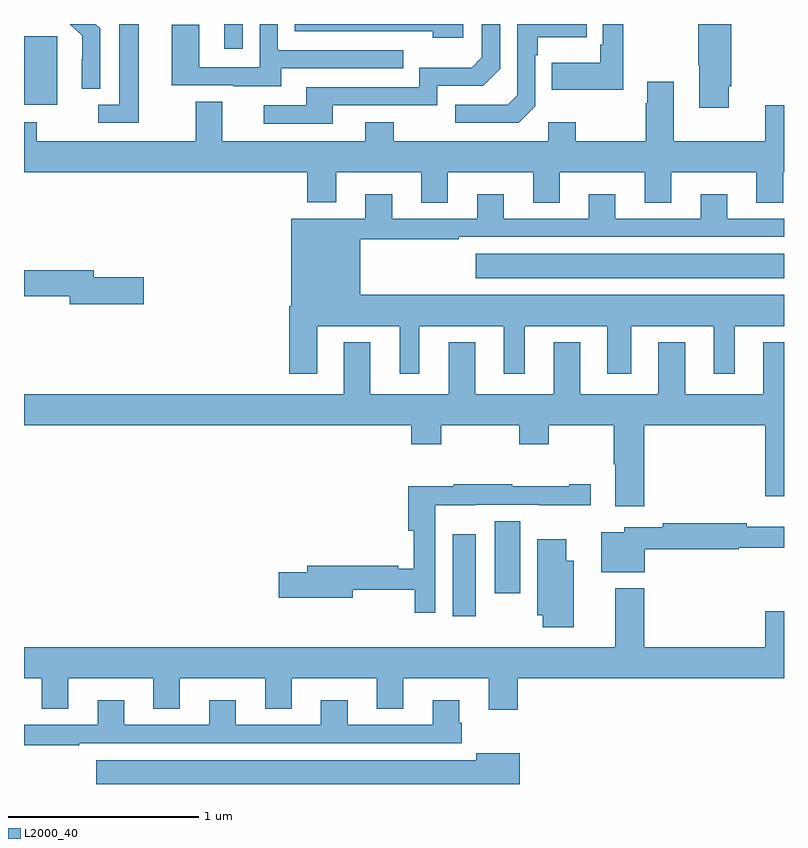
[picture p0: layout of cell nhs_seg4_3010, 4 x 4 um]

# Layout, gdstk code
import gdstk
lib = gdstk.Library(unit=1e-6, precision=1e-09)
def R(c, l, rs):  # rectangles x0, y0, x1, y1
    for r in rs: c.add(gdstk.rectangle(r[:2], r[2:], *l))
def P(c, l, *ps):  # polygons
    for p in ps: c.add(gdstk.Polygon(p, *l))
L2000_40 = (2000, 40)

nhs_seg4_3010 = lib.new_cell('nhs_seg4_3010')
R(nhs_seg4_3010, L2000_40, [(271.256,827.784,271.378,828.214), (271.478,827.904,271.612,828.284), (271.377,829.562,273,829.69), (269,830.474,269.176,830.835), (270.053,830.769,270.15,830.9)])
P(nhs_seg4_3010, L2000_40, [(271.692,830.466),(271.692,830.735),(271.705,830.735),(271.705,830.831),(271.961,830.831),(271.961,830.9),(271.596,830.9),(271.596,830.526),(271.545,830.475),(271.269,830.475),(271.269,830.379),(271.605,830.379)],
  [(272.155,830.9),(272.046,830.9),(272.046,830.791),(272.034,830.791),(272.034,830.695),(271.777,830.695),(271.777,830.555),(272.155,830.555)],
  [(271.312,830.9),(270.426,830.9),(270.426,830.862),(271.151,830.862),(271.151,830.828),(271.312,830.828)],
  [(269.4,830.878),(269.378,830.9),(269.242,830.9),(269.306,830.837),(269.306,830.714),(269.304,830.714),(269.304,830.56),(269.4,830.56)],
  [(270.355,830.667),(270.995,830.667),(270.995,830.763),(270.336,830.763),(270.336,830.9),(270.24,830.9),(270.24,830.673),(269.922,830.673),(269.922,830.897),(269.777,830.897),(269.777,830.577),(270.101,830.577),(270.101,830.573),(270.355,830.573)],
  [(270.625,830.472),(271.176,830.472),(271.176,830.574),(271.416,830.574),(271.506,830.664),(271.506,830.9),(271.41,830.9),(271.41,830.724),(271.357,830.671),(271.08,830.671),(271.08,830.568),(270.485,830.568),(270.485,830.472),(270.261,830.472),(270.261,830.376),(270.625,830.376)],
  [(269.605,830.9),(269.501,830.9),(269.501,830.475),(269.391,830.475),(269.391,830.379),(269.605,830.379)],
  [(272.71,830.572),(272.723,830.572),(272.723,830.9),(272.548,830.9),(272.548,830.683),(272.555,830.683),(272.555,830.46),(272.71,830.46)],
  [(271.231,830.12),(271.679,830.12),(271.679,829.96),(271.819,829.96),(271.819,830.12),(272.267,830.12),(272.267,829.96),(272.407,829.96),(272.407,830.12),(272.855,830.12),(272.855,829.96),(272.995,829.96),(272.995,830.12),(273,830.12),(273,830.473),(272.9,830.473),(272.9,830.284),(272.419,830.284),(272.419,830.596),(272.279,830.596),(272.279,830.483),(272.272,830.483),(272.272,830.284),(271.905,830.284),(271.905,830.383),(271.758,830.383),(271.758,830.284),(270.945,830.284),(270.945,830.383),(270.797,830.383),(270.797,830.284),(270.043,830.284),(270.043,830.492),(269.903,830.492),(269.903,830.284),(269.067,830.284),(269.067,830.383),(269,830.383),(269,830.12),(270.491,830.12),(270.491,829.961),(270.643,829.961),(270.643,830.12),(271.091,830.12),(271.091,829.96),(271.231,829.96)],
  [(270.544,829.31),(270.977,829.31),(270.977,829.059),(271.081,829.059),(271.081,829.31),(271.526,829.31),(271.526,829.059),(271.636,829.059),(271.636,829.31),(272.069,829.31),(272.069,829.059),(272.197,829.059),(272.197,829.31),(272.63,829.31),(272.63,829.059),(272.74,829.059),(272.74,829.31),(273,829.31),(273,829.474),(270.769,829.474),(270.769,829.767),(271.289,829.767),(271.289,829.779),(273,829.779),(273,829.875),(272.701,829.875),(272.701,830.005),(272.561,830.005),(272.561,829.875),(272.113,829.875),(272.113,830.005),(271.973,830.005),(271.973,829.875),(271.525,829.875),(271.525,830.005),(271.385,830.005),(271.385,829.875),(270.937,829.875),(270.937,830.005),(270.797,830.005),(270.797,829.876),(270.407,829.876),(270.407,829.414),(270.395,829.414),(270.395,829.059),(270.544,829.059)],
  [(269.629,829.568),(269.368,829.568),(269.368,829.604),(269,829.604),(269,829.468),(269.24,829.468),(269.24,829.426),(269.629,829.426)],
  [(271.037,828.689),(271.197,828.689),(271.197,828.788),(271.606,828.788),(271.606,828.689),(271.761,828.689),(271.761,828.788),(272.104,828.788),(272.104,828.584),(272.111,828.584),(272.111,828.363),(272.264,828.363),(272.264,828.788),(272.9,828.788),(272.9,828.414),(273,828.414),(273,829.225),(272.891,829.225),(272.891,828.952),(272.479,828.952),(272.479,829.225),(272.339,829.225),(272.339,828.952),(271.927,828.952),(271.927,829.225),(271.787,829.225),(271.787,828.952),(271.375,828.952),(271.375,829.225),(271.235,829.225),(271.235,828.952),(270.823,828.952),(270.823,829.225),(270.683,829.225),(270.683,828.952),(269,828.952),(269,828.788),(271.037,828.788)],
  [(271.164,828.368),(271.374,828.368),(271.374,828.369),(271.708,828.369),(271.708,828.368),(271.984,828.368),(271.984,828.478),(271.871,828.478),(271.871,828.468),(271.571,828.468),(271.571,828.478),(271.261,828.478),(271.261,828.468),(271.022,828.468),(271.022,828.233),(271.052,828.233),(271.052,828.032),(270.971,828.032),(270.971,828.05),(270.491,828.05),(270.491,828.014),(270.342,828.014),(270.342,827.879),(270.73,827.879),(270.73,827.922),(271.056,827.922),(271.056,827.802),(271.164,827.802)],
  [(272.266,828.136),(272.762,828.136),(272.762,828.144),(273,828.144),(273,828.253),(272.804,828.253),(272.804,828.272),(272.362,828.272),(272.362,828.252),(272.16,828.252),(272.16,828.226),(272.039,828.226),(272.039,828.014),(272.266,828.014)],
  [(271.894,828.076),(271.855,828.076),(271.855,828.187),(271.7,828.187),(271.7,827.789),(271.729,827.789),(271.729,827.724),(271.894,827.724)],
  [(269,827.456),(269.093,827.456),(269.093,827.296),(269.233,827.296),(269.233,827.456),(269.681,827.456),(269.681,827.296),(269.821,827.296),(269.821,827.456),(270.269,827.456),(270.269,827.296),(270.409,827.296),(270.409,827.456),(270.857,827.456),(270.857,827.296),(270.997,827.296),(270.997,827.456),(271.445,827.456),(271.445,827.292),(271.598,827.292),(271.598,827.456),(273,827.456),(273,827.809),(272.9,827.809),(272.9,827.62),(272.264,827.62),(272.264,827.929),(272.111,827.929),(272.111,827.62),(269,827.62)],
  [(269.291,827.115),(271.304,827.115),(271.304,827.223),(271.291,827.223),(271.291,827.341),(271.151,827.341),(271.151,827.211),(270.703,827.211),(270.703,827.341),(270.563,827.341),(270.563,827.211),(270.115,827.211),(270.115,827.341),(269.975,827.341),(269.975,827.211),(269.527,827.211),(269.527,827.341),(269.387,827.341),(269.387,827.211),(269,827.211),(269,827.103),(269.291,827.103)],
  [(271.609,827.062),(271.379,827.062),(271.379,827.026),(269.379,827.026),(269.379,826.9),(271.609,826.9)])

lib.write_gds('nhs_seg4_3010.gds')
